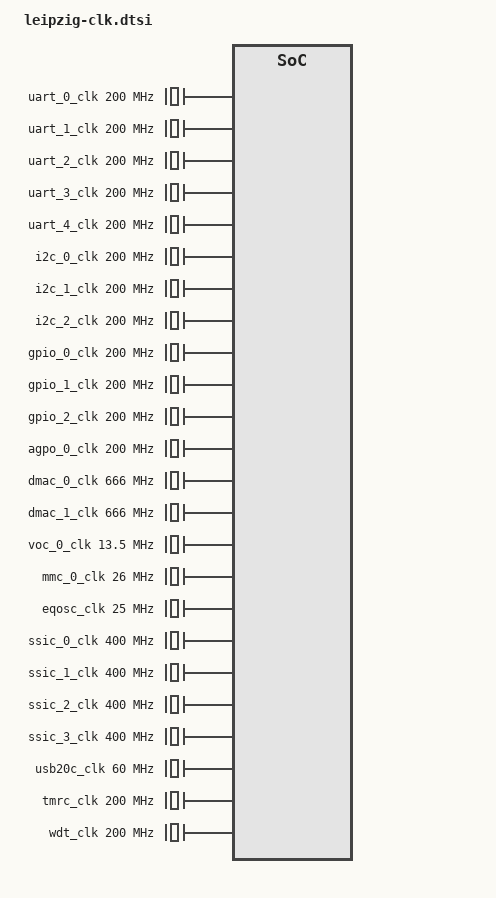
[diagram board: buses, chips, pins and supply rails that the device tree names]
// SPDX-License-Identifier: (GPL-2.0 OR MIT)
/*
 * Copyright (C) 2023 VATICS Inc.
 */

/ {
	uart_0_clk: uart_0_clk@200M {
		compatible = "fixed-clock";
		#clock-cells = <0>;
		clock-frequency = <200000000>;
		clock-output-name = "uart_0_clk";
	};

	uart_1_clk: uart_1_clk@200M {
		compatible = "fixed-clock";
		#clock-cells = <0>;
		clock-frequency = <200000000>;
		clock-output-name = "uart_1_clk";
	};

	uart_2_clk: uart_2_clk@200M {
		compatible = "fixed-clock";
		#clock-cells = <0>;
		clock-frequency = <200000000>;
		clock-output-name = "uart_2_clk";
	};

	uart_3_clk: uart_3_clk@200M {
		compatible = "fixed-clock";
		#clock-cells = <0>;
		clock-frequency = <200000000>;
		clock-output-name = "uart_3_clk";
	};

	uart_4_clk: uart_4_clk@200M {
		compatible = "fixed-clock";
		#clock-cells = <0>;
		clock-frequency = <200000000>;
		clock-output-name = "uart_4_clk";
	};

	i2c_0_clk: i2c_0_clk@200M {
		compatible = "fixed-clock";
		#clock-cells = <0>;
		clock-frequency = <200000000>;
		clock-output-name = "i2c_0_clk";
	};

	i2c_1_clk: i2c_1_clk@200M {
		compatible = "fixed-clock";
		#clock-cells = <0>;
		clock-frequency = <200000000>;
		clock-output-name = "i2c_1_clk";
	};

	i2c_2_clk: i2c_2_clk@200M {
		compatible = "fixed-clock";
		#clock-cells = <0>;
		clock-frequency = <200000000>;
		clock-output-name = "i2c_2_clk";
	};

	gpio_0_clk: gpio_0_clk@200M {
		compatible = "fixed-clock";
		#clock-cells = <0>;
		clock-frequency = <200000000>;
		clock-output-name = "gpio_0_clk";
	};

	gpio_1_clk: gpio_1_clk@200M {
		compatible = "fixed-clock";
		#clock-cells = <0>;
		clock-frequency = <200000000>;
		clock-output-name = "gpio_1_clk";
	};

	gpio_2_clk: gpio_2_clk@200M {
		compatible = "fixed-clock";
		#clock-cells = <0>;
		clock-frequency = <200000000>;
		clock-output-name = "gpio_2_clk";
	};

	agpo_0_clk: agpo_0_clk@200M {
		compatible = "fixed-clock";
		#clock-cells = <0>;
		clock-frequency = <200000000>;
		clock-output-name = "agpo_0_clk";
	};

	dmac_0_clk: dmac_0_clk@666M {
		compatible = "fixed-clock";
		#clock-cells = <0>;
		clock-frequency = <666000000>;
		clock-output-name = "dmac_0_clk";
	};

	dmac_1_clk: dmac_1_clk@666M {
		compatible = "fixed-clock";
		#clock-cells = <0>;
		clock-frequency = <666000000>;
		clock-output-name = "dmac_1_clk";
	};

	voc_0_clk: voc_0_clk@13M {
		compatible = "fixed-clock";
		#clock-cells = <0>;
		clock-frequency = <13500000>;
		clock-output-name = "voc_0_clk";
	};

	mmc_0_clk: mmc_0_clk@26M {
		compatible = "fixed-clock";
		#clock-cells = <0>;
		clock-frequency = <26000000>;
		clock-output-name = "mmc_0_clk";
	};

	eqosc_clk: eqosc_clk@25M {
		compatible = "fixed-clock";
		#clock-cells = <0>;
		clock-frequency = <25000000>;
		clock-output-name = "eqosc_clk";
	};

	ssic_0_clk: ssic_0_clk@400M {
		compatible = "fixed-clock";
		#clock-cells = <0>;
		clock-frequency = <400000000>;
		clock-output-name = "ssic_0_clk";
	};

	ssic_1_clk: ssic_1_clk@400M {
		compatible = "fixed-clock";
		#clock-cells = <0>;
		clock-frequency = <400000000>;
		clock-output-name = "ssic_1_clk";
	};
	ssic_2_clk: ssic_2_clk@400M {
		compatible = "fixed-clock";
		#clock-cells = <0>;
		clock-frequency = <400000000>;
		clock-output-name = "ssic_2_clk";
	};
	ssic_3_clk: ssic_3_clk@400M {
		compatible = "fixed-clock";
		#clock-cells = <0>;
		clock-frequency = <400000000>;
		clock-output-name = "ssic_3_clk";
	};


	usb20c_clk: usb20c_clk@60M {
		compatible = "fixed-clock";
		#clock-cells = <0>;
		clock-frequency = <60000000>;
		clock-output-name = "usb20c_clk";
	};

	tmrc_clk: tmrc_clk@200M {
		compatible = "fixed-clock";
		#clock-cells = <0>;
		clock-frequency = <200000000>;
		clock-output-name = "tmrc_clk";
	};

	wdt_clk: wdt_clk@200M {
		compatible = "fixed-clock";
		#clock-cells = <0>;
		clock-frequency = <200000000>;
		clock-output-name = "wdt_clk";
	};
};
